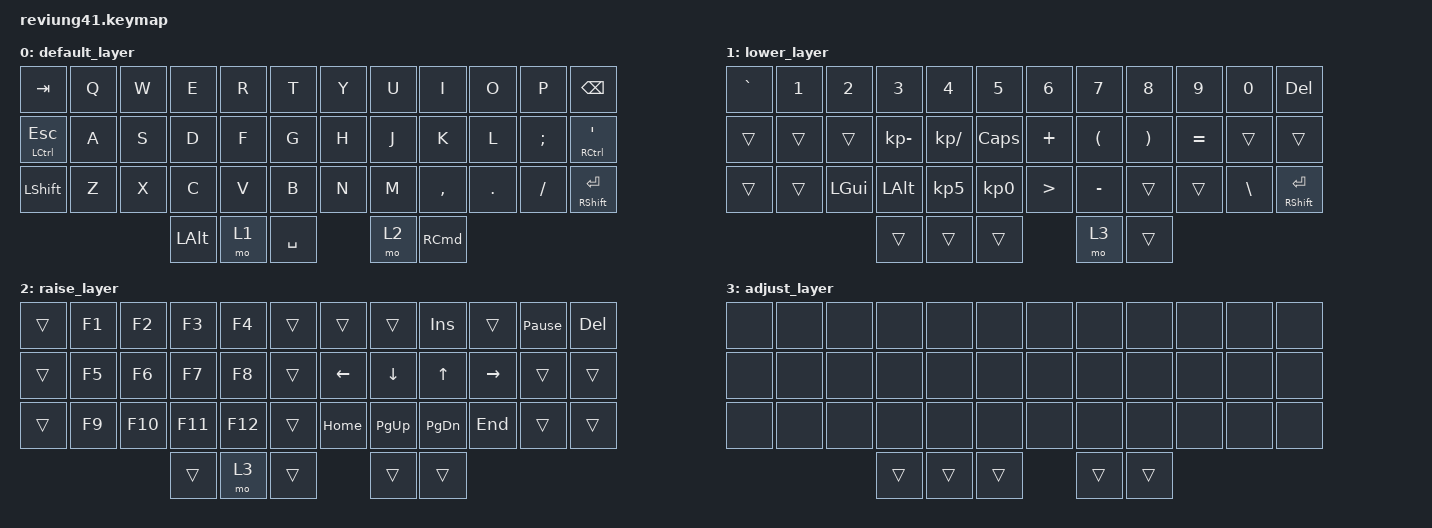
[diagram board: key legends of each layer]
/*
 * Copyright (c) 2020 The ZMK Contributors
 *
 * SPDX-License-Identifier: MIT
 */

#include <behaviors.dtsi>
#include <dt-bindings/zmk/keys.h>
#include <dt-bindings/zmk/bt.h>
#include <dt-bindings/zmk/rgb.h>

/ {
        keymap {
                compatible = "zmk,keymap";

                default_layer {
// -------------------------------------------------------------------------------------
// |  TAB |  Q  |  W  |  E  |  R  |  T  |   |  Y  |  U   |  I  |  O  |  P  |   BKSP    |
// | CTRL |  A  |  S  |  D  |  F  |  G  |   |  H  |  J   |  K  |  L  |  ;  |  CTRL(')  |
// | SHFT |  Z  |  X  |  C  |  V  |  B  |   |  N  |  M   |  ,  |  .  |  /  | SHFT(RET) |
//                         | ALT | LWR | SPC | RSE  | CMD |
                        bindings = <
   &kp TAB   &kp Q &kp W &kp E &kp R &kp T   &kp Y &kp U  &kp I     &kp O   &kp P    &kp BSPC
   &mt LCTRL ESC &kp A &kp S &kp D &kp F &kp G   &kp H &kp J  &kp K     &kp L   &kp SEMI &mt RCTRL SQT
   &kp LSHFT &kp Z &kp X &kp C &kp V &kp B   &kp N &kp M  &kp COMMA &kp DOT &kp FSLH &mt RSHFT RET
                        &kp LALT  &mo 1 &kp SPACE &mo 2  &kp RCMD
                        >;
                };

                lower_layer {
// ----------------------------------------------------------------------------------
// |  ` |  1  |  2  |  3  |  4  |  5  |     |  6  |  7  |  8  |  9  |  0  |    DEL    |
// |    |     |     |     |  -  |  /  | CAPS|  +  |  (  |  )  |  =  |     |           |
// |    |     |     | GUI | ALT | KP5 | KP0 |  >  |  -  |     |     |  \  | SHFT(RET) |
//                       |     |     |       | ADJ |     |
                        bindings = <
   &kp GRAVE &kp N1 &kp N2   &kp N3       &kp N4       &kp N5        &kp N6    &kp N7    &kp N8    &kp N9    &kp N0    &kp DEL
   &trans    &trans &trans   &kp KP_MINUS &kp KP_SLASH &kp CAPS      &kp PLUS  &kp LPAR  &kp RPAR  &kp EQUAL &trans    &trans
   &trans    &trans &kp LGUI &kp LALT     &kp KP_N5    &kp KP_N0     &kp GT    &kp MINUS &trans    &trans    &kp BSLH  &mt RSHFT RET
                                 &trans      &trans       &trans        &mo 3       &trans
                        >;
                };

                raise_layer {
// -----------------------------------------------------------------------------------------
// |    | F1  | F2  | F3  | F4  |     |   |     |     | Ins |     |Pause| DEL |
// |    | F5  | F6  | F7  | F8  |     |   | Left| Down|  Up |Right|     |     |
// |    | F9  | F10 | F11 | F12 |     |   | Home| PgUp| PgDn| End |     |     |
//                       |     | ADJ |     |    |     |
                        bindings = <
   &trans &kp F1    &kp F2    &kp F3    &kp F4    &trans        &trans    &trans    &kp INS   &trans    &kp PAUSE_BREAK &kp DEL
   &trans &kp F5    &kp F6    &kp F7    &kp F8    &trans        &kp LEFT  &kp DOWN  &kp UP    &kp RIGHT &trans          &trans
   &trans &kp F9    &kp F10   &kp F11   &kp F12   &trans        &kp HOME  &kp PG_UP &kp PG_DN &kp END   &trans          &trans
                                &trans      &mo 3       &trans        &trans      &trans
                        >;
                };

                adjust_layer {
// -----------------------------------------------------------------------------
// |     |     |     |     |     |     |   |     |     |     |     |     |     |
// |     |     |     |     |     |     |   |     |     |     |     |     |     |
// |     |     |     |     |     |     |   |     |     |     |     |     |     |
//                        |     |     |     |     |     |
                        bindings = <
   &none  &none  &none  &none  &none  &none     &none  &none  &none  &none  &none  &none 
   &none  &none  &none  &none  &none  &none     &none  &none  &none  &none  &none  &none
   &none  &none  &none  &none  &none  &none     &none  &none  &none  &none  &none  &none
                 &trans      &trans       &trans        &trans      &trans
                        >;
                };
        };
};
